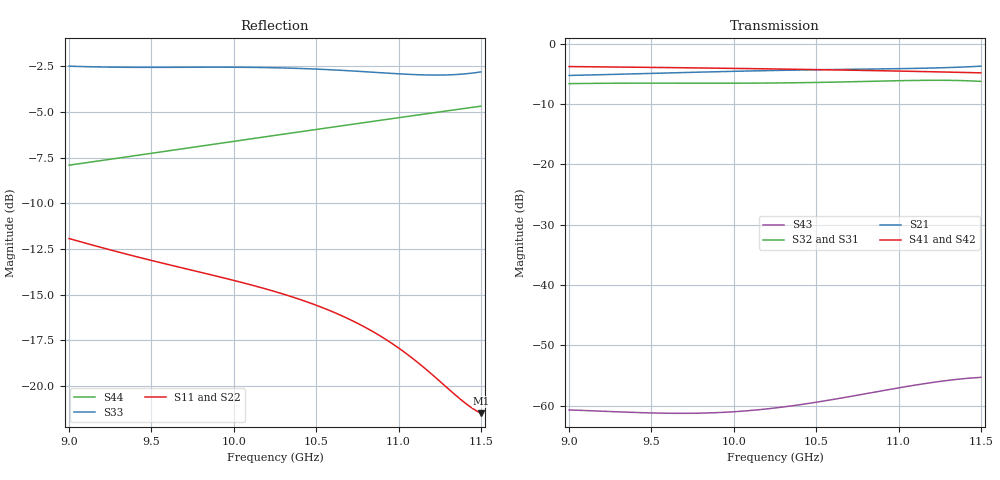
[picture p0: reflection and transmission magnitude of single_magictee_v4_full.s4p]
! Generated from PyAEDT SolutionData; AEDT ExportNetworkData workaround
# GHz S MA R 50
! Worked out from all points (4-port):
!   101 points, 9 GHz to 11.5 GHz, reference 50 ohm
!   strongest paths, dB at 9 GHz, 9.625 GHz, 10.25 GHz, 10.88 GHz, 11.5 GHz:
!     S41: -3.8, -4.0, -4.2, -4.5, -4.8
!     S42: -3.8, -4.0, -4.2, -4.5, -4.8
!     S21: -5.2, -4.8, -4.4, -4.2, -3.7
!     S32: -6.6, -6.5, -6.5, -6.2, -6.2
!     S31: -6.6, -6.5, -6.5, -6.2, -6.2
!     S43: -60.7, -61.3, -60.4, -57.7, -55.3
!   lowest |S11| = -21.5 dB at 11.5 GHz (marker M1), VSWR 1.18, Z = 47.8 - j7.97 ohm
!   |S11| at or under -10 dB: start of sweep to end of sweep
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9  0.2535 145.1  0.5466 -171.6  0.4669 -77.5  0.6473 42.9
   0.5466 -171.6  0.2529 144.9  0.4672 -77.5  0.6473 -137.1
   0.4669 -77.5  0.4672 -77.5  0.7508 -150.0  0.0009221 -64.3
   0.6473 42.9  0.6473 -137.1  0.0009221 -64.3  0.4025 -128.3
9.525  0.2194 87.7  0.5695 130.5  0.4713 -165.7  0.6367 -16.7
       0.5695 130.5  0.2192 87.5  0.4717 -165.6  0.6365 163.3
       0.4713 -165.7  0.4717 -165.6  0.7452 89.8  0.0008694 -155.3
       0.6367 -16.7  0.6365 163.3  0.0008694 -155.3  0.4353 176.0
9.925  0.1984 45.0  0.588 87.6  0.4707 129.3  0.6272 -60.4
       0.588 87.6  0.1983 44.8  0.4712 129.4  0.6268 119.6
       0.4707 129.3  0.4712 129.4  0.7459 1.4  0.0008794 142.2
       0.6272 -60.4  0.6268 119.6  0.0008794 142.2  0.4623 134.6
10.3  0.1786 4.8  0.6027 48.3  0.4735 69.3  0.6169 -100.4
      0.6027 48.3  0.1783 4.6  0.4741 69.3  0.6166 79.6
      0.4735 69.3  0.4741 69.3  0.7423 -80.2  0.0009758 85.8
      0.6169 -100.4  0.6166 79.6  0.0009758 85.8  0.489 96.3
10.775  0.1467 -45.6  0.6163 -0.1  0.4861 -7.5  0.602 -150.1
        0.6163 -0.1  0.146 -46.2  0.4866 -7.4  0.6018 29.9
        0.4861 -7.5  0.4866 -7.4  0.7259 173.5  0.001238 10.9
        0.602 -150.1  0.6018 29.9  0.001238 10.9  0.5249 48.3
11.15  0.1128 -81.6  0.6275 -36.6  0.4972 -71.0  0.5885 171.2
       0.6275 -36.6  0.1117 -82.6  0.4977 -70.9  0.5883 -8.8
       0.4972 -71.0  0.4977 -70.9  0.7107 81.2  0.001517 -53.8
       0.5885 171.2  0.5883 -8.8  0.001517 -53.8  0.5546 10.7
11.5  0.08427 -100.8  0.6524 -69.3  0.4873 -134.4  0.5743 135.5
      0.6524 -69.3  0.08242 -102.1  0.4878 -134.4  0.5741 -44.6
      0.4873 -134.4  0.4878 -134.4  0.7243 -16.0  0.001716 -119.1
      0.5743 135.5  0.5741 -44.6  0.001716 -119.1  0.5835 -24.2
